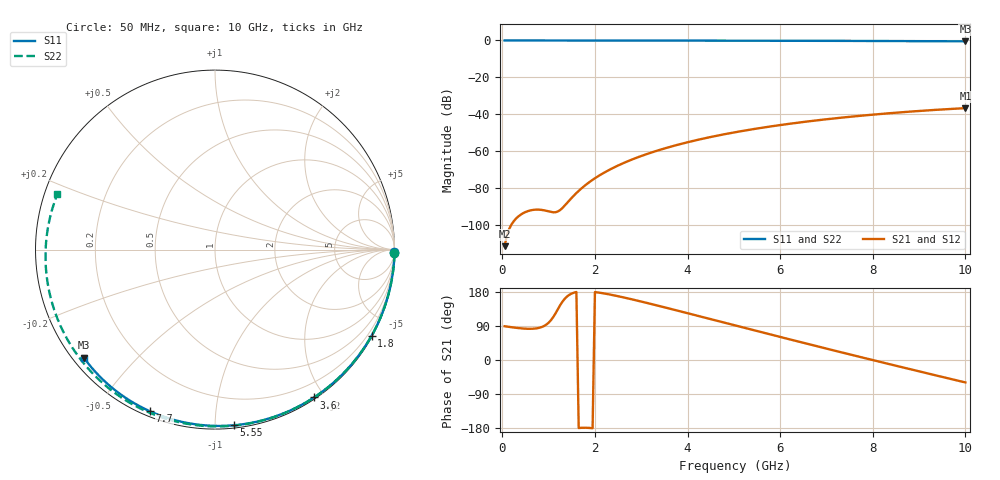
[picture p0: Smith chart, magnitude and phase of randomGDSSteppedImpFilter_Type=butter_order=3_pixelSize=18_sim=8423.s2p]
! freq	dB(S11)	phase(S11)	dB(S12)	phase(S12)
!  dB(S21)	phase(S21)	dB(S22)	phase(S22)
!S-par simulation data
#  GHz  S  DB  R 50
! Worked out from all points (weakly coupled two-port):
!   200 points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, 50 MHz to 10 GHz, reference 50 ohm
!   highest |S21| = -36.70 dB at 10 GHz (marker M1); lowest = -111.5 dB at 50 MHz (marker M2)
!   lowest |S11| = -0.5 dB at 10 GHz (marker M3), VSWR 36.67, Z = 1.54 - j18 ohm
!   |S11| at or under -10 dB: nowhere
!   |S22| runs from -0.6 to 0.0 dB; largest |S21 - S12| = 0
!   S11 on the Smith chart (normalised r, x): 50 MHz: open; 1.8 GHz: 0.03, -3.90; 3.6 GHz: 0.02, -1.87; 5.55 GHz: 0.02, -1.11; 7.7 GHz: 0.02, -0.67; 10 GHz: 0.03, -0.36
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0.05  -0.00 -0.8  -111.54 89.1  -111.54 89.1  -0.00 -1.1
0.45  -0.01 -7.3  -93.65 83.0  -93.65 83.0  -0.01 -10.0
0.85  -0.02 -13.7  -91.88 86.9  -91.88 86.9  -0.02 -18.7
1.25  -0.03 -20.1  -91.94 144.7  -91.94 144.7  -0.03 -27.4
1.7  -0.03 -27.2  -80.42 -179.0  -80.42 -179.0  -0.05 -37.1
1.75  -0.04 -28.0  -79.35 -178.7  -79.35 -178.7  -0.05 -38.1
1.8  -0.04 -28.8  -78.34 -178.7  -78.34 -178.7  -0.05 -39.2
2.1  -0.04 -33.5  -73.13 177.6  -73.13 177.6  -0.06 -45.5
2.5  -0.05 -39.7  -67.80 168.3  -67.80 168.3  -0.07 -53.9
2.9  -0.06 -45.8  -63.58 157.2  -63.58 157.2  -0.08 -62.1
3.4  -0.07 -53.3  -59.32 142.2  -59.32 142.2  -0.10 -72.1
3.6  -0.08 -56.2  -57.85 136.0  -57.85 136.0  -0.10 -76.1
4.3  -0.09 -66.4  -53.43 114.1  -53.43 114.1  -0.13 -89.7
5.05  -0.12 -77.0  -49.66 90.5  -49.66 90.5  -0.16 -103.9
5.55  -0.14 -83.9  -47.55 74.9  -47.55 74.9  -0.19 -113.2
6.1  -0.16 -91.2  -45.52 57.8  -45.52 57.8  -0.22 -123.4
6.7  -0.19 -99.1  -43.59 39.2  -43.59 39.2  -0.26 -134.4
7.7  -0.26 -111.9  -40.92 8.8  -40.92 8.8  -0.35 -152.9
8.35  -0.31 -120.1  -39.47 -10.7  -39.47 -10.7  -0.42 -165.3
9.2  -0.39 -130.6  -37.89 -35.9  -37.89 -35.9  -0.52 177.8
9.6  -0.43 -135.5  -37.26 -47.6  -37.26 -47.6  -0.57 169.4
10  -0.47 -140.4  -36.70 -59.2  -36.70 -59.2  -0.62 160.7
